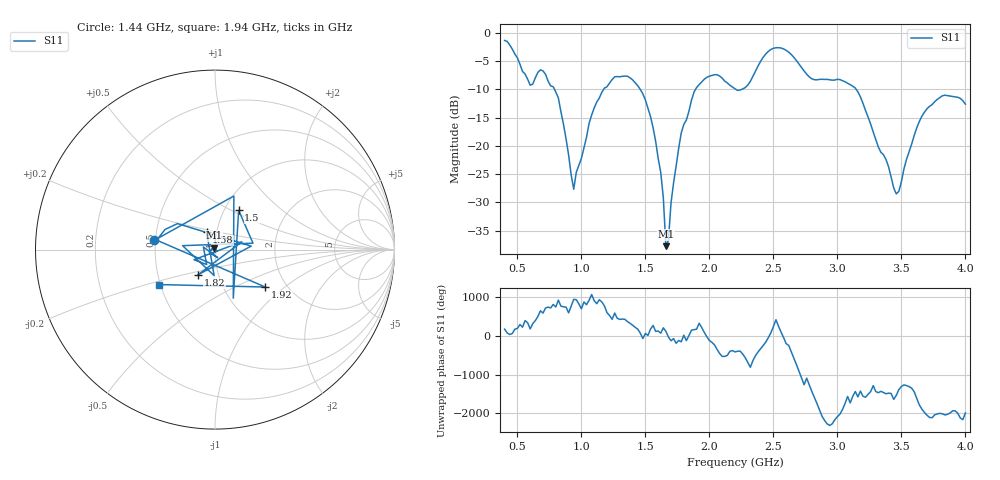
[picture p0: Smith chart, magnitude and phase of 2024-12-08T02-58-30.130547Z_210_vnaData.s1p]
!Created with skrf (http://scikit-rf.org).
# Hz S RI R 50.0
!freq ReS11 ImS11
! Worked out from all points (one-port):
!   181 points, 400 MHz to 4 GHz, reference 50 ohm
!   lowest |S11| = -37.7 dB at 1.66 GHz (marker M1), VSWR 1.03, Z = 49.4 + j1.16 ohm
!   |S11| at or under -10 dB: 790.4 MHz to 1.173 GHz (382.8 MHz wide, 39 % of centre); 1.46 GHz to 1.891 GHz (431.1 MHz wide, 25.7 % of centre); 3.147 GHz to end of sweep (the widest 3 of 4)
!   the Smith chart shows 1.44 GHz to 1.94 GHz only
!   S11 on the Smith chart (normalised r, x): 1.44 GHz: 0.49, +0.06; 1.5 GHz: 1.17, +0.55; 1.58 GHz: 0.89, +0.18; 1.82 GHz: 0.80, -0.23; 1.92 GHz: 1.56, -0.74; 1.94 GHz: 0.49, -0.22
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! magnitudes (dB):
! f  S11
! 400 MHz  -1.3
! 600 MHz  -9.2
! 720 MHz  -7.3
! 860 MHz  -16.2
! 940 MHz  -27.7
! 1.1 GHz  -13.3
! 1.3 GHz  -7.8
! 1.44 GHz  -9.3
! 1.5 GHz  -11.9
! 1.58 GHz  -19.2
! 1.64 GHz  -29.2
! 1.66 GHz  -37.7
! 1.68 GHz  -36.7
! 1.7 GHz  -30.1
! 1.76 GHz  -20.4
! 1.82 GHz  -15.4
! 1.92 GHz  -9.1
! 1.94 GHz  -8.7
! 2.2 GHz  -9.9
! 2.48 GHz  -2.9
! 2.66 GHz  -4.3
! 2.8 GHz  -8.1
! 3.1 GHz  -9.2
! 3.18 GHz  -11.3
! 3.46 GHz  -28.5
! 3.56 GHz  -21.0
! 3.78 GHz  -11.8
! 4 GHz  -12.6
